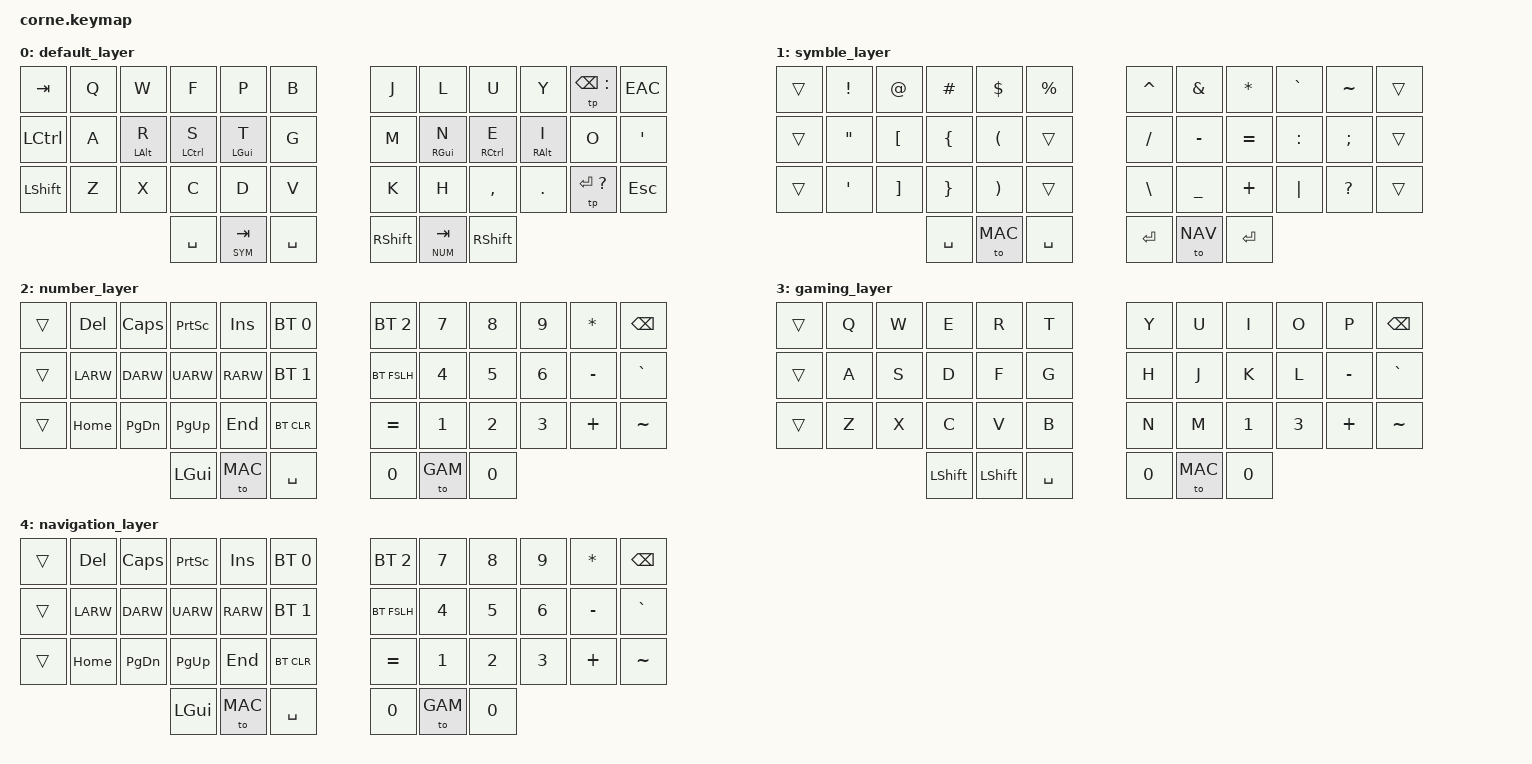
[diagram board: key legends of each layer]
/*
 * Copyright (c) 2020 The ZMK Contributors
 *
 * SPDX-License-Identifier: MIT
 */

#include <behaviors.dtsi>
#include <dt-bindings/zmk/keys.h>
#include <dt-bindings/zmk/bt.h>
#include <dt-bindings/zmk/mouse.h>

#define MAC 0
#define SYM 1
#define NUM 2
#define GAM 3
#define NAV 4

&mt {
    flavor = "tap-preferred";
    tapping_term_ms = <200>;
};

&mmv {
   time-to-max-speed-ms = <680>;
   acceleration-exponent=<2>;
};
/ { 


    behaviors {
        hm: homerow_mods {
            compatible = "zmk,behavior-hold-tap";
            label = "HOMEROW_MODS";
            #binding-cells = <2>;
            tapping-term-ms = <200>;
            quick_tap_ms = <0>;
            flavor = "tap-preferred";
            bindings = <&kp>, <&kp>;
        };
        td: tapdance {
            compatible = "zmk,behavior-hold-tap";
            label = "TAPDANCE";
            #binding-cells = <2>;
            tapping-term-ms = <150>;
            quick_tap_ms = <0>;
            flavor = "tap-preferred";
            bindings = <&kp>, <&kp>;
        };
     };
                keymap {
                        compatible = "zmk,keymap";

                    default_layer {
                bindings = <
                &kp TAB   &kp Q &kp W      &kp F       &kp P      &kp B                &kp J &kp L       &kp U        &kp Y        &tp BSPC COLON &kp EAC
                &kp LCTRL &kp A &hm LALT R &hm LCTRL S &hm LGUI T &kp G                &kp M &hm RGUI N  &hm RCTRL E  &hm RALT I   &kp O          &kp SQT
                &kp LSHFT &kp Z &kp X      &kp C       &kp D      &kp V                &kp K &kp H       &kp COMMA    &kp DOT      &tp RET QMARK  &kp ESC
                           &kp SPACE &lt SYM TAB &kp SPACE                                                &kp RSHFT &lt NUM TAB  &kp RSHFT
                >;
                };
                     symble_layer {
                bindings = <
                &trans  &kp EXCL &kp AT    &kp HASH   &kp DLLR    &kp PRCNT            &kp CARET &kp AMPS   &kp ASTRK &kp GRAVE &kp TILDE &trans
                &trans  &kp DQT  &kp LBKT  &kp LBRC   &kp LPAR    &trans               &kp FSLH  &kp MINUS  &kp EQUAL &kp COLON &kp SEMI  &trans
                &trans  &kp SQT  &kp RBKT  &kp RBRC   &kp RPAR    &trans               &kp BSLH  &kp UNDER  &kp PLUS  &kp PIPE  &kp QMARK &trans
                            &kp SPACE   &to MAC  &kp SPACE                                           &kp RET  &to NAV   &kp RET
                >;
                };
                      number_layer {
                        bindings = <
                &trans &kp DEL  &kp CAPS  &kp PSCRN  &kp INS   &bt BT_SEL 0            &bt BT_SEL 2  &kp N7 &kp N8 &kp N9 &kp ASTRK &kp BSPC
                &trans &kp LARW &kp DARW  &kp UARW   &kp RARW  &bt BT_SEL 1            &bt FSLH      &kp N4 &kp N5 &kp N6 &kp MINUS &kp GRAVE
                &trans &kp HOME &kp PG_DN &kp PG_UP  &kp END   &bt BT_CLR              &kp EQUAL     &kp N1 &kp N2 &kp N3 &kp PLUS  &kp TILDE
                             &kp LGUI  &to MAC   &kp SPACE                                          &kp N0   &to GAM    &kp N0
                >;
                };
                      gaming_layer {
                        bindings = <
                &trans &kp Q  &kp W  &kp E  &kp R   &kp T                              &kp Y  &kp U &kp I  &kp O  &kp P     &kp BSPC
                &trans &kp A  &kp S  &kp D  &kp F   &kp G                              &kp H  &kp J &kp K  &kp L  &kp MINUS &kp GRAVE
                &trans &kp Z  &kp X  &kp C  &kp V   &kp B                              &kp N  &kp M &kp N1 &kp N3 &kp PLUS  &kp TILDE
                      &kp LSHFT  &kp LSHFT  &kp SPACE                                            &kp N0   &to MAC    &kp N0
                >;
                };
                      navigation_layer {
                        bindings = <
                &trans &kp DEL  &kp CAPS  &kp PSCRN  &kp INS   &bt BT_SEL 0            &bt BT_SEL 2  &kp N7 &kp N8 &kp N9 &kp ASTRK &kp BSPC
                &trans &kp LARW &kp DARW  &kp UARW   &kp RARW  &bt BT_SEL 1            &bt FSLH      &kp N4 &kp N5 &kp N6 &kp MINUS &kp GRAVE
                &trans &kp HOME &kp PG_DN &kp PG_UP  &kp END   &bt BT_CLR              &kp EQUAL     &kp N1 &kp N2 &kp N3 &kp PLUS  &kp TILDE
                             &kp LGUI  &to MAC   &kp SPACE                                           &kp N0   &to GAM    &kp N0
                >;
                };
        };
};
